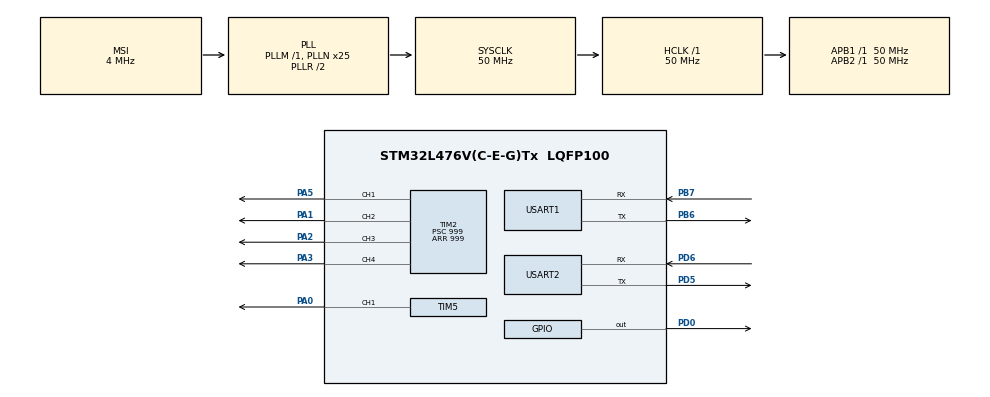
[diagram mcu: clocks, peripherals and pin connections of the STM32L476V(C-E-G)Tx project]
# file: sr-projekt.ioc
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Mcu.Family=STM32L4
Mcu.Name=STM32L476V(C-E-G)Tx
Mcu.Package=LQFP100
NVIC.PriorityGroup=NVIC_PRIORITYGROUP_4
NVIC.TIM2_IRQn=true\:0\:0\:false\:false\:true\:true\:true\:true
NVIC.TIM5_IRQn=true\:0\:0\:false\:false\:true\:true\:true\:true
PA0.Signal=S_TIM5_CH1
PA1.Signal=S_TIM2_CH2
PA2.Signal=S_TIM2_CH3
PA3.Signal=S_TIM2_CH4
PA5.Signal=S_TIM2_CH1
PB6.Mode=Asynchronous
PB6.Signal=USART1_TX
PB7.Mode=Asynchronous
PB7.Signal=USART1_RX
PD0.PinState=GPIO_PIN_RESET
PD0.Signal=GPIO_Output
PD5.Mode=Asynchronous
PD5.Signal=USART2_TX
PD6.Mode=Asynchronous
PD6.Signal=USART2_RX
ProjectManager.HeapSize=0x200
ProjectManager.StackSize=0x400
ProjectManager.TargetToolchain=STM32CubeIDE
RCC.ADCFreq_Value=48000000
RCC.AHBFreq_Value=50000000
RCC.APB1Freq_Value=50000000
RCC.APB1TimFreq_Value=50000000
RCC.APB2Freq_Value=50000000
RCC.APB2TimFreq_Value=50000000
RCC.CortexFreq_Value=50000000
RCC.HCLKFreq_Value=50000000
RCC.HSE_VALUE=8000000
RCC.HSI_VALUE=16000000
RCC.LSE_VALUE=32768
RCC.MSI_VALUE=4000000
RCC.PLLN=25
RCC.PLLSAI1N=24
RCC.PREFETCH_ENABLE=1
RCC.SYSCLKFreq_VALUE=50000000
RCC.SYSCLKSource=RCC_SYSCLKSOURCE_PLLCLK
RCC.USBFreq_Value=48000000
RCC.VCOOutputFreq_Value=100000000
SH.S_TIM2_CH1.0=TIM2_CH1,PWM Generation1 CH1
SH.S_TIM2_CH2.0=TIM2_CH2,PWM Generation2 CH2
SH.S_TIM2_CH3.0=TIM2_CH3,PWM Generation3 CH3
SH.S_TIM2_CH4.0=TIM2_CH4,PWM Generation4 CH4
SH.S_TIM5_CH1.0=TIM5_CH1,PWM Generation1 CH1
TIM2.AutoReloadPreload=TIM_AUTORELOAD_PRELOAD_ENABLE
TIM2.Channel-PWM\ Generation1\ CH1=TIM_CHANNEL_1
TIM2.Channel-PWM\ Generation2\ CH2=TIM_CHANNEL_2
TIM2.Channel-PWM\ Generation3\ CH3=TIM_CHANNEL_3
TIM2.Channel-PWM\ Generation4\ CH4=TIM_CHANNEL_4
TIM2.Period=999
TIM2.Prescaler=999
TIM5.AutoReloadPreload=TIM_AUTORELOAD_PRELOAD_ENABLE
TIM5.Channel-PWM\ Generation1\ CH1=TIM_CHANNEL_1
TIM5.Period=999
TIM5.Prescaler=999
USART1.VirtualMode-Asynchronous=VM_ASYNC
USART2.VirtualMode-Asynchronous=VM_ASYNC
board=STM32L476G-DISCO

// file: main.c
/* USER CODE BEGIN Header */
/**
  ******************************************************************************
  * @file           : main.c
  * @brief          : Main program body
  ******************************************************************************
  * @attention
  *
  * Copyright (c) 2022 STMicroelectronics.
  * All rights reserved.
  *
  * This software is licensed under terms that can be found in the LICENSE file
  * in the root directory of this software component.
  * If no LICENSE file comes with this software, it is provided AS-IS.
  *
  ******************************************************************************
  */
/* USER CODE END Header */
#include "main.h"

/* USER CODE BEGIN PD */
//#define TIM_NO htim5

#define ANGLE_MIN 0
#define ANGLE_MAX 208
#define PWM_MIN	18
#define PWM_MAX 131

#define STEP ((1000 * (PWM_MAX - PWM_MIN)) / (ANGLE_MAX - ANGLE_MIN))
/* USER CODE END PD */

 TIM_HandleTypeDef htim2;
TIM_HandleTypeDef htim5;

UART_HandleTypeDef huart1;
UART_HandleTypeDef huart2;

void SystemClock_Config(void);
static void MX_GPIO_Init(void);
static void MX_TIM2_Init(void);
static void MX_TIM5_Init(void);
static void MX_USART1_UART_Init(void);
static void MX_USART2_UART_Init(void);
/* USER CODE BEGIN PFP */
void set_ang(uint16_t ang, uint32_t TIM_CHANNEL_NO,TIM_HandleTypeDef TIM_NO,uint8_t mode) // ang - kąt obrotu, TIM_CHANNEL_NO - numer serwa ,
{                                                                                          // TIM_HandleTypeDef TIM_NO - numer timera, mode-kierunek obrotu
	uint16_t val;

	if(ang > ANGLE_MAX)
	{
		ang = ANGLE_MAX;
	}
	else if(ang < ANGLE_MIN)
	{
		ang = ANGLE_MIN;
	}
	if(mode)
	{
		val = PWM_MIN + ((ang - ANGLE_MIN) * STEP) / 1000;
	}
	else
	{
		val = PWM_MAX - ((ang - ANGLE_MIN) * STEP) / 1000;
	}
	__HAL_TIM_SET_COMPARE(&TIM_NO,TIM_CHANNEL_NO,val);
}

/* USER CODE END PFP */

int main(void)
{

  /* MCU Configuration--------------------------------------------------------*/

  /* Reset of all peripherals, Initializes the Flash interface and the Systick. */
  HAL_Init();

  /* Configure the system clock */
  SystemClock_Config();

  /* Initialize all configured peripherals */
  MX_GPIO_Init();
  MX_TIM2_Init();
  MX_TIM5_Init();
  MX_USART1_UART_Init();
  MX_USART2_UART_Init();
  /* USER CODE BEGIN 2 */
  HAL_TIM_PWM_Start(&htim2, TIM_CHANNEL_1); // start the PWM
  HAL_TIM_PWM_Start(&htim2, TIM_CHANNEL_2); // start the PWM
  HAL_TIM_PWM_Start(&htim2, TIM_CHANNEL_3); // start the PWM
  HAL_TIM_PWM_Start(&htim2, TIM_CHANNEL_4); // start the PWM
  HAL_TIM_PWM_Start(&htim5, TIM_CHANNEL_1); // start the PWM
  /* USER CODE END 2 */

  /* Infinite loop */
  /* USER CODE BEGIN WHILE */
  while (1)
  {
//	  HAL_Delay(3000);
////	  set_ang(90,TIM_CHANNEL_1,htim5,1);
//	  HAL_Delay(3000);
//	  set_ang(45,TIM_CHANNEL_2,htim2,1);
//	  set_ang(45,TIM_CHANNEL_3,htim2,1);
//	  HAL_Delay(3000);
//	  set_ang(90,TIM_CHANNEL_4,htim2,1);
//	  HAL_Delay(3000);
//	  set_ang(90,TIM_CHANNEL_2,htim2,1);
//	  set_ang(90,TIM_CHANNEL_3,htim2,1);
//	  HAL_Delay(3000);

	  HAL_Delay(3000);
	  set_ang(90,TIM_CHANNEL_1,htim5,1);
	  HAL_Delay(3000);
	  set_ang(60,TIM_CHANNEL_4,htim2,1);
	  HAL_Delay(3000);
	  set_ang(80,TIM_CHANNEL_2,htim2,1);
	  set_ang(80,TIM_CHANNEL_3,htim2,1);
	  HAL_Delay(3000);
	  set_ang(100,TIM_CHANNEL_2,htim2,1);
	  set_ang(100,TIM_CHANNEL_3,htim2,1);
	  HAL_Delay(3000);
	  set_ang(30,TIM_CHANNEL_4,htim2,1);
	  HAL_Delay(3000);
	  set_ang(110,TIM_CHANNEL_1,htim5,1);
	  HAL_Delay(3000);

//	  htim5.Instance->CCR1 = 18;
//	  HAL_Delay(2000);
//	  htim5.Instance->CCR1 = 25;
//	  HAL_Delay(2000);
//	  htim5.Instance->CCR1 = 50;
//	  HAL_Delay(2000);
//	  htim5.Instance->CCR1 = 75;
//	  HAL_Delay(2000);
//	  htim5.Instance->CCR1 = 100;
//	  HAL_Delay(2000);
//	  htim5.Instance->CCR1 = 125;
//	  HAL_Delay(2000);
//	  htim5.Instance->CCR1 = 131;
//	  HAL_Delay(2000);

    /* USER CODE END WHILE */

  }
}

void SystemClock_Config(void)
{
  RCC_OscInitTypeDef RCC_OscInitStruct = {0};
  RCC_ClkInitTypeDef RCC_ClkInitStruct = {0};

  /** Configure the main internal regulator output voltage
  */
  if (HAL_PWREx_ControlVoltageScaling(PWR_REGULATOR_VOLTAGE_SCALE1) != HAL_OK)
  {
    Error_Handler();
  }

  /** Initializes the RCC Oscillators according to the specified parameters
  * in the RCC_OscInitTypeDef structure.
  */
  RCC_OscInitStruct.OscillatorType = RCC_OSCILLATORTYPE_MSI;
  RCC_OscInitStruct.MSIState = RCC_MSI_ON;
  RCC_OscInitStruct.MSICalibrationValue = 0;
  RCC_OscInitStruct.MSIClockRange = RCC_MSIRANGE_6;
  RCC_OscInitStruct.PLL.PLLState = RCC_PLL_ON;
  RCC_OscInitStruct.PLL.PLLSource = RCC_PLLSOURCE_MSI;
  RCC_OscInitStruct.PLL.PLLM = 1;
  RCC_OscInitStruct.PLL.PLLN = 25;
  RCC_OscInitStruct.PLL.PLLP = RCC_PLLP_DIV7;
  RCC_OscInitStruct.PLL.PLLQ = RCC_PLLQ_DIV2;
  RCC_OscInitStruct.PLL.PLLR = RCC_PLLR_DIV2;
  if (HAL_RCC_OscConfig(&RCC_OscInitStruct) != HAL_OK)
  {
    Error_Handler();
  }

  /** Initializes the CPU, AHB and APB buses clocks
  */
  RCC_ClkInitStruct.ClockType = RCC_CLOCKTYPE_HCLK|RCC_CLOCKTYPE_SYSCLK
                              |RCC_CLOCKTYPE_PCLK1|RCC_CLOCKTYPE_PCLK2;
  RCC_ClkInitStruct.SYSCLKSource = RCC_SYSCLKSOURCE_PLLCLK;
  RCC_ClkInitStruct.AHBCLKDivider = RCC_SYSCLK_DIV1;
  RCC_ClkInitStruct.APB1CLKDivider = RCC_HCLK_DIV1;
  RCC_ClkInitStruct.APB2CLKDivider = RCC_HCLK_DIV1;

  if (HAL_RCC_ClockConfig(&RCC_ClkInitStruct, FLASH_LATENCY_3) != HAL_OK)
  {
    Error_Handler();
  }
}

static void MX_TIM2_Init(void)
{

  TIM_MasterConfigTypeDef sMasterConfig = {0};
  TIM_OC_InitTypeDef sConfigOC = {0};

  htim2.Instance = TIM2;
  htim2.Init.Prescaler = 999;
  htim2.Init.CounterMode = TIM_COUNTERMODE_UP;
  htim2.Init.Period = 999;
  htim2.Init.ClockDivision = TIM_CLOCKDIVISION_DIV1;
  htim2.Init.AutoReloadPreload = TIM_AUTORELOAD_PRELOAD_ENABLE;
  if (HAL_TIM_PWM_Init(&htim2) != HAL_OK)
  {
    Error_Handler();
  }
  sMasterConfig.MasterOutputTrigger = TIM_TRGO_RESET;
  sMasterConfig.MasterSlaveMode = TIM_MASTERSLAVEMODE_DISABLE;
  if (HAL_TIMEx_MasterConfigSynchronization(&htim2, &sMasterConfig) != HAL_OK)
  {
    Error_Handler();
  }
  sConfigOC.OCMode = TIM_OCMODE_PWM1;
  sConfigOC.Pulse = 0;
  sConfigOC.OCPolarity = TIM_OCPOLARITY_HIGH;
  sConfigOC.OCFastMode = TIM_OCFAST_DISABLE;
  if (HAL_TIM_PWM_ConfigChannel(&htim2, &sConfigOC, TIM_CHANNEL_1) != HAL_OK)
  {
    Error_Handler();
  }
  if (HAL_TIM_PWM_ConfigChannel(&htim2, &sConfigOC, TIM_CHANNEL_2) != HAL_OK)
  {
    Error_Handler();
  }
  if (HAL_TIM_PWM_ConfigChannel(&htim2, &sConfigOC, TIM_CHANNEL_3) != HAL_OK)
  {
    Error_Handler();
  }
  if (HAL_TIM_PWM_ConfigChannel(&htim2, &sConfigOC, TIM_CHANNEL_4) != HAL_OK)
  {
    Error_Handler();
  }
  HAL_TIM_MspPostInit(&htim2);

}

static void MX_TIM5_Init(void)
{

  TIM_MasterConfigTypeDef sMasterConfig = {0};
  TIM_OC_InitTypeDef sConfigOC = {0};

  htim5.Instance = TIM5;
  htim5.Init.Prescaler = 999;
  htim5.Init.CounterMode = TIM_COUNTERMODE_UP;
  htim5.Init.Period = 999;
  htim5.Init.ClockDivision = TIM_CLOCKDIVISION_DIV1;
  htim5.Init.AutoReloadPreload = TIM_AUTORELOAD_PRELOAD_ENABLE;
  if (HAL_TIM_PWM_Init(&htim5) != HAL_OK)
  {
    Error_Handler();
  }
  sMasterConfig.MasterOutputTrigger = TIM_TRGO_RESET;
  sMasterConfig.MasterSlaveMode = TIM_MASTERSLAVEMODE_DISABLE;
  if (HAL_TIMEx_MasterConfigSynchronization(&htim5, &sMasterConfig) != HAL_OK)
  {
    Error_Handler();
  }
  sConfigOC.OCMode = TIM_OCMODE_PWM1;
  sConfigOC.Pulse = 0;
  sConfigOC.OCPolarity = TIM_OCPOLARITY_HIGH;
  sConfigOC.OCFastMode = TIM_OCFAST_DISABLE;
  if (HAL_TIM_PWM_ConfigChannel(&htim5, &sConfigOC, TIM_CHANNEL_1) != HAL_OK)
  {
    Error_Handler();
  }
  HAL_TIM_MspPostInit(&htim5);

}

static void MX_USART1_UART_Init(void)
{

  huart1.Instance = USART1;
  huart1.Init.BaudRate = 115200;
  huart1.Init.WordLength = UART_WORDLENGTH_8B;
  huart1.Init.StopBits = UART_STOPBITS_1;
  huart1.Init.Parity = UART_PARITY_NONE;
  huart1.Init.Mode = UART_MODE_TX_RX;
  huart1.Init.HwFlowCtl = UART_HWCONTROL_NONE;
  huart1.Init.OverSampling = UART_OVERSAMPLING_16;
  huart1.Init.OneBitSampling = UART_ONE_BIT_SAMPLE_DISABLE;
  huart1.AdvancedInit.AdvFeatureInit = UART_ADVFEATURE_NO_INIT;
  if (HAL_UART_Init(&huart1) != HAL_OK)
  {
    Error_Handler();
  }

}

static void MX_USART2_UART_Init(void)
{

  huart2.Instance = USART2;
  huart2.Init.BaudRate = 115200;
  huart2.Init.WordLength = UART_WORDLENGTH_8B;
  huart2.Init.StopBits = UART_STOPBITS_1;
  huart2.Init.Parity = UART_PARITY_NONE;
  huart2.Init.Mode = UART_MODE_TX_RX;
  huart2.Init.HwFlowCtl = UART_HWCONTROL_NONE;
  huart2.Init.OverSampling = UART_OVERSAMPLING_16;
  huart2.Init.OneBitSampling = UART_ONE_BIT_SAMPLE_DISABLE;
  huart2.AdvancedInit.AdvFeatureInit = UART_ADVFEATURE_NO_INIT;
  if (HAL_UART_Init(&huart2) != HAL_OK)
  {
    Error_Handler();
  }

}

static void MX_GPIO_Init(void)
{
  GPIO_InitTypeDef GPIO_InitStruct = {0};

  /* GPIO Ports Clock Enable */
  __HAL_RCC_GPIOA_CLK_ENABLE();
  __HAL_RCC_GPIOD_CLK_ENABLE();
  __HAL_RCC_GPIOB_CLK_ENABLE();

  /*Configure GPIO pin Output Level */
  HAL_GPIO_WritePin(GPIOD, GPIO_PIN_0, GPIO_PIN_RESET);

  /*Configure GPIO pin : PD0 */
  GPIO_InitStruct.Pin = GPIO_PIN_0;
  GPIO_InitStruct.Mode = GPIO_MODE_OUTPUT_PP;
  GPIO_InitStruct.Pull = GPIO_NOPULL;
  GPIO_InitStruct.Speed = GPIO_SPEED_FREQ_LOW;
  HAL_GPIO_Init(GPIOD, &GPIO_InitStruct);

}

void Error_Handler(void)
{
  __disable_irq();
  while (1)
  {
  }
}
